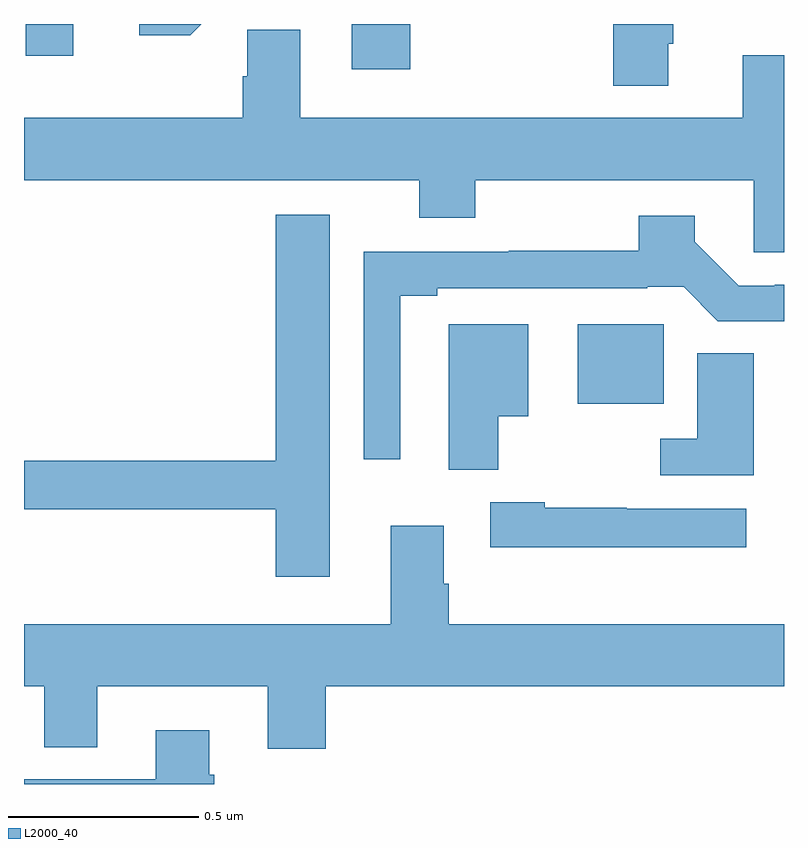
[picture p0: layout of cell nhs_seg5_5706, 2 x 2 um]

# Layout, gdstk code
import gdstk
lib = gdstk.Library(unit=1e-6, precision=1e-09)
def R(c, l, rs):  # rectangles x0, y0, x1, y1
    for r in rs: c.add(gdstk.rectangle(r[:2], r[2:], *l))
def P(c, l, *ps):  # polygons
    for p in ps: c.add(gdstk.Polygon(p, *l))
L2000_40 = (2000, 40)

nhs_seg5_5706 = lib.new_cell('nhs_seg5_5706')
R(nhs_seg5_5706, L2000_40, [(187.457,894.8,187.684,895.009), (186.863,895.68,187.016,895.799), (186.005,895.716,186.13,895.799)])
P(nhs_seg5_5706, L2000_40, [(186.467,895.799),(186.303,895.799),(186.303,895.77),(186.438,895.77)],
  [(187.696,895.747),(187.709,895.747),(187.709,895.799),(187.55,895.799),(187.55,895.637),(187.696,895.637)],
  [(188,895.717),(187.892,895.717),(187.892,895.552),(186.727,895.552),(186.727,895.784),(186.588,895.784),(186.588,895.662),(186.575,895.662),(186.575,895.552),(186,895.552),(186,895.388),(187.04,895.388),(187.04,895.289),(187.188,895.289),(187.188,895.388),(187.92,895.388),(187.92,895.198),(188,895.198)],
  [(186.805,895.297),(186.662,895.297),(186.662,894.65),(186,894.65),(186,894.522),(186.662,894.522),(186.662,894.345),(186.805,894.345)],
  [(186.99,895.084),(187.087,895.084),(187.087,895.104),(187.64,895.104),(187.64,895.107),(187.736,895.107),(187.826,895.017),(188,895.017),(188,895.113),(187.975,895.113),(187.975,895.11),(187.881,895.11),(187.765,895.226),(187.765,895.294),(187.618,895.294),(187.618,895.202),(187.276,895.202),(187.276,895.2),(186.894,895.2),(186.894,894.654),(186.99,894.654)],
  [(187.248,894.767),(187.327,894.767),(187.327,895.009),(187.118,895.009),(187.118,894.626),(187.248,894.626)],
  [(187.921,894.932),(187.772,894.932),(187.772,894.708),(187.674,894.708),(187.674,894.612),(187.921,894.612)],
  [(187.9,894.523),(187.586,894.523),(187.586,894.526),(187.371,894.526),(187.371,894.541),(187.227,894.541),(187.227,894.422),(187.9,894.422)],
  [(186.794,894.056),(188,894.056),(188,894.22),(187.118,894.22),(187.118,894.326),(187.105,894.326),(187.105,894.478),(186.965,894.478),(186.965,894.22),(186,894.22),(186,894.056),(186.053,894.056),(186.053,893.896),(186.193,893.896),(186.193,894.056),(186.641,894.056),(186.641,893.892),(186.794,893.892)],
  [(186.5,893.823),(186.487,893.823),(186.487,893.941),(186.347,893.941),(186.347,893.811),(186,893.811),(186,893.799),(186.5,893.799)])

lib.write_gds('nhs_seg5_5706.gds')
